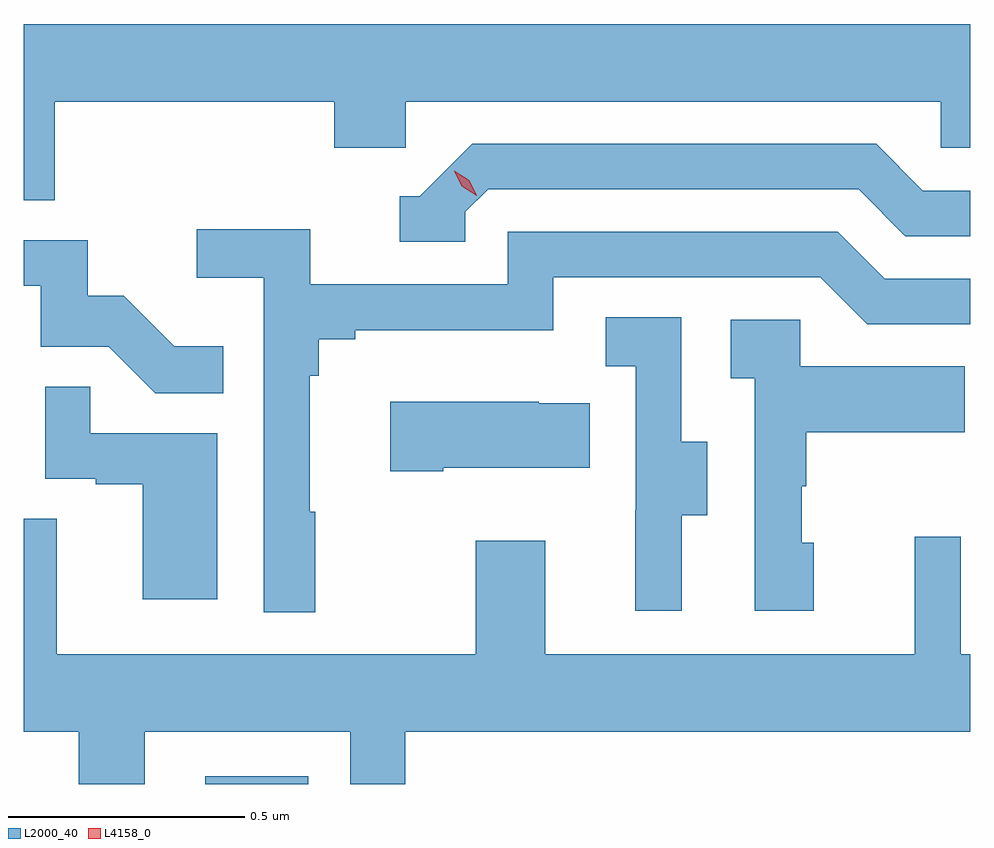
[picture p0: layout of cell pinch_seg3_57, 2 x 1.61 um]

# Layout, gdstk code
import gdstk
lib = gdstk.Library(unit=1e-6, precision=1e-09)
def R(c, l, rs):  # rectangles x0, y0, x1, y1
    for r in rs: c.add(gdstk.rectangle(r[:2], r[2:], *l))
def P(c, l, *ps):  # polygons
    for p in ps: c.add(gdstk.Polygon(p, *l))
L2000_40 = (2000, 40)
L4158_0 = (4158, 0)

pinch_seg3_57 = lib.new_cell('pinch_seg3_57')
R(pinch_seg3_57, L2000_40, [(1077.009,744.762,1077.226,744.778)])
P(pinch_seg3_57, L2000_40, [(1076.69,746.204),(1077.281,746.204),(1077.281,746.106),(1077.432,746.106),(1077.432,746.204),(1078.563,746.204),(1078.563,746.106),(1078.625,746.106),(1078.625,746.368),(1076.625,746.368),(1076.625,745.996),(1076.69,745.996)],
  [(1077.558,745.971),(1077.606,746.019),(1078.389,746.019),(1078.488,745.92),(1078.625,745.92),(1078.625,746.016),(1078.525,746.016),(1078.426,746.115),(1077.573,746.115),(1077.462,746.004),(1077.419,746.004),(1077.419,745.908),(1077.558,745.908)],
  [(1077.241,745.337),(1077.229,745.337),(1077.229,745.625),(1077.248,745.625),(1077.248,745.702),(1077.325,745.702),(1077.325,745.721),(1077.744,745.721),(1077.744,745.833),(1078.308,745.833),(1078.407,745.734),(1078.625,745.734),(1078.625,745.83),(1078.444,745.83),(1078.345,745.929),(1077.648,745.929),(1077.648,745.818),(1077.23,745.818),(1077.23,745.934),(1076.991,745.934),(1076.991,745.832),(1077.132,745.832),(1077.132,745.125),(1077.241,745.125)],
  [(1077.047,745.687),(1076.943,745.687),(1076.836,745.794),(1076.76,745.794),(1076.76,745.911),(1076.625,745.911),(1076.625,745.815),(1076.661,745.815),(1076.661,745.686),(1076.805,745.686),(1076.903,745.588),(1077.047,745.588)],
  [(1078.015,745.33),(1078.069,745.33),(1078.069,745.485),(1078.014,745.485),(1078.014,745.748),(1077.855,745.748),(1077.855,745.645),(1077.918,745.645),(1077.918,745.341),(1077.917,745.341),(1077.917,745.128),(1078.015,745.128)],
  [(1078.294,745.272),(1078.269,745.272),(1078.269,745.391),(1078.279,745.391),(1078.279,745.505),(1078.613,745.505),(1078.613,745.645),(1078.266,745.645),(1078.266,745.743),(1078.119,745.743),(1078.119,745.619),(1078.17,745.619),(1078.17,745.128),(1078.294,745.128)],
  [(1077.034,745.503),(1076.765,745.503),(1076.765,745.601),(1076.67,745.601),(1076.67,745.407),(1076.777,745.407),(1076.777,745.395),(1076.876,745.395),(1076.876,745.152),(1077.034,745.152)],
  [(1077.511,745.43),(1077.821,745.43),(1077.821,745.567),(1077.713,745.567),(1077.713,745.57),(1077.399,745.57),(1077.399,745.423),(1077.511,745.423)],
  [(1076.881,744.872),(1077.315,744.872),(1077.315,744.762),(1077.431,744.762),(1077.431,744.872),(1078.625,744.872),(1078.625,745.036),(1078.605,745.036),(1078.605,745.285),(1078.508,745.285),(1078.508,745.036),(1077.727,745.036),(1077.727,745.276),(1077.58,745.276),(1077.58,745.036),(1076.695,745.036),(1076.695,745.322),(1076.625,745.322),(1076.625,744.872),(1076.741,744.872),(1076.741,744.762),(1076.881,744.762)])
P(pinch_seg3_57, L4158_0, [(1077.582,746.005),(1077.551,746.025),(1077.535,746.057),(1077.535,746.058),(1077.535,746.058),(1077.566,746.038),(1077.582,746.005),(1077.582,746.005)])

lib.write_gds('pinch_seg3_57.gds')
